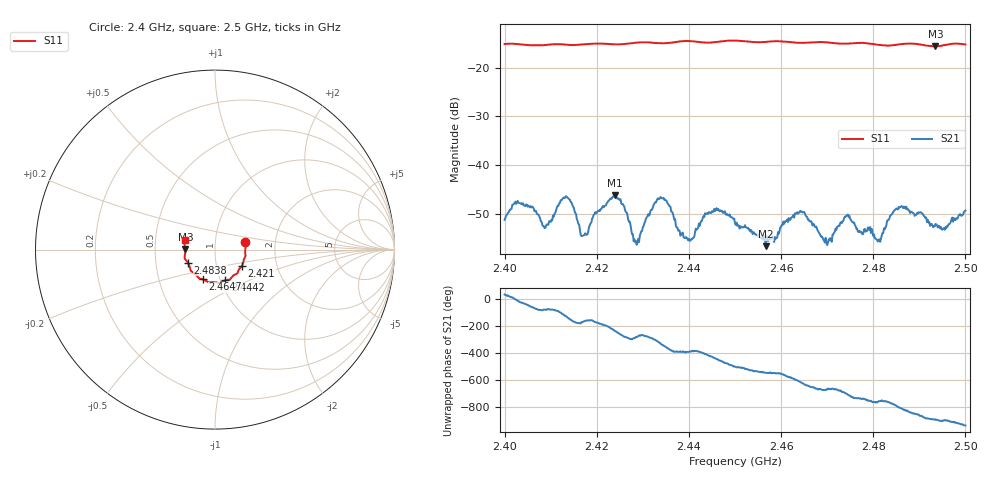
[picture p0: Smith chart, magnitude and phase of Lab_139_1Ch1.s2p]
# Hz S RI R 50
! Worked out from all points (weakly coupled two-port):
!   601 points, 2.4 GHz to 2.5 GHz, reference 50 ohm
!   highest |S21| = -46.15 dB at 2.424 GHz (marker M1); lowest = -56.5 dB at 2.4567 GHz (marker M2)
!   lowest |S11| = -15.7 dB at 2.4935 GHz (marker M3), VSWR 1.39, Z = 35.8 + j0.188 ohm
!   |S11| at or under -10 dB: start of sweep to end of sweep
!   S12 and S22 are empty: the file has one direction only
!   S11 on the Smith chart (normalised r, x): 2.4 GHz: 1.40, +0.12; 2.421 GHz: 1.33, -0.24; 2.4442 GHz: 1.05, -0.37; 2.4647 GHz: 0.83, -0.28; 2.4838 GHz: 0.73, -0.11; 2.5 GHz: 0.71, +0.08
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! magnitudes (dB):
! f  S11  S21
! 2.4 GHz  -15.2  -51.2
! 2.4032 GHz  -15.2  -47.7
! 2.409 GHz  -15.4  -52.3
! 2.4133 GHz  -15.3  -46.3
! 2.4167 GHz  -15.3  -54.4
! 2.421 GHz  -15.1  -48.9
! 2.424 GHz  -15.3  -46.1
! 2.4287 GHz  -14.9  -56.2
! 2.4333 GHz  -15.0  -46.7
! 2.4402 GHz  -14.6  -55.4
! 2.4442 GHz  -14.9  -49.9
! 2.45 GHz  -14.5  -51.9
! 2.4567 GHz  -14.7  -56.5
! 2.4647 GHz  -14.9  -49.6
! 2.4667 GHz  -14.8  -51.7
! 2.4705 GHz  -14.9  -55.3
! 2.4743 GHz  -15.1  -50.2
! 2.4812 GHz  -15.4  -55.3
! 2.4833 GHz  -15.5  -51.1
! 2.4838 GHz  -15.5  -50.2
! 2.4935 GHz  -15.7  -52.0
! 2.5 GHz  -15.3  -49.2
